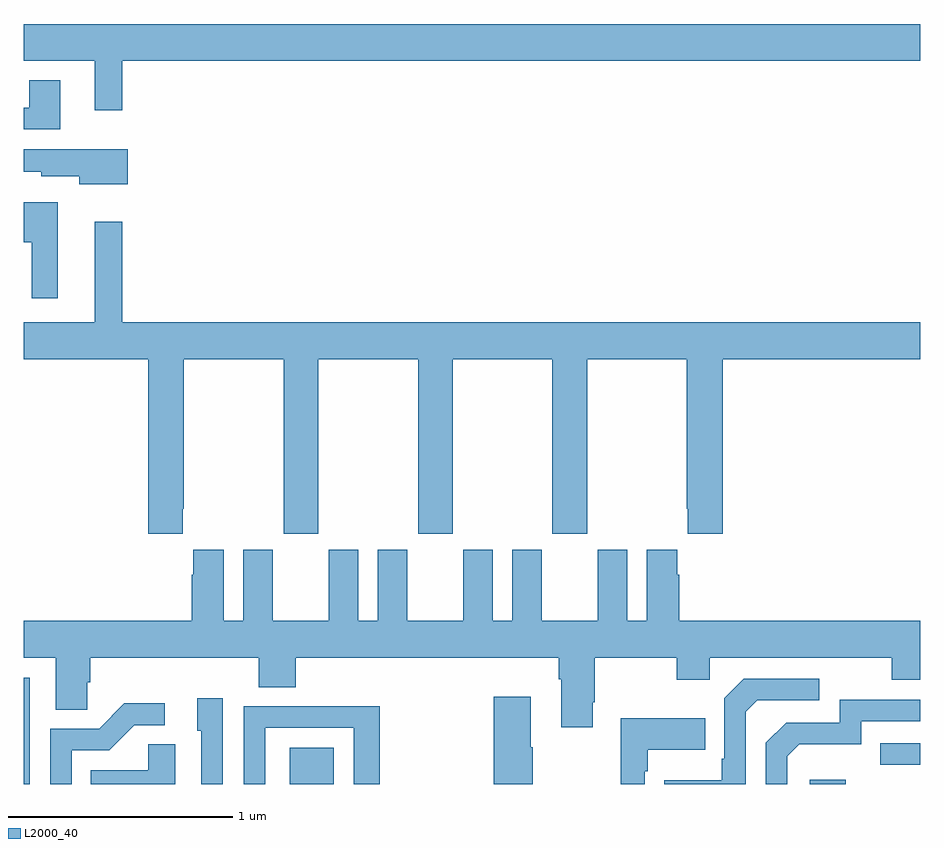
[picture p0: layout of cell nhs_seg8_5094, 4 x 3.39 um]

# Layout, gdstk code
import gdstk
lib = gdstk.Library(unit=1e-6, precision=1e-09)
def R(c, l, rs):  # rectangles x0, y0, x1, y1
    for r in rs: c.add(gdstk.rectangle(r[:2], r[2:], *l))
def P(c, l, *ps):  # polygons
    for p in ps: c.add(gdstk.Polygon(p, *l))
L2000_40 = (2000, 40)

nhs_seg8_5094 = lib.new_cell('nhs_seg8_5094')
R(nhs_seg8_5094, L2000_40, [(417,1151.9,417.027,1152.375), (418.187,1151.9,418.384,1152.061), (420.507,1151.9,420.668,1151.92), (420.823,1151.985,421,1152.081)])
P(nhs_seg8_5094, L2000_40, [(417.439,1155.128),(421,1155.128),(421,1155.292),(417,1155.292),(417,1155.128),(417.317,1155.128),(417.317,1154.907),(417.439,1154.907)],
  [(417.163,1155.04),(417.023,1155.04),(417.023,1154.919),(417,1154.919),(417,1154.823),(417.163,1154.823)],
  [(417.463,1154.734),(417,1154.734),(417,1154.633),(417.078,1154.633),(417.078,1154.612),(417.248,1154.612),(417.248,1154.576),(417.463,1154.576)],
  [(417.151,1154.497),(417,1154.497),(417,1154.318),(417.035,1154.318),(417.035,1154.067),(417.151,1154.067)],
  [(417.709,1153.129),(417.714,1153.129),(417.714,1153.796),(418.159,1153.796),(418.159,1153.017),(418.314,1153.017),(418.314,1153.796),(418.759,1153.796),(418.759,1153.017),(418.914,1153.017),(418.914,1153.796),(419.359,1153.796),(419.359,1153.017),(419.514,1153.017),(419.514,1153.796),(419.959,1153.796),(419.959,1153.129),(419.963,1153.129),(419.963,1153.017),(420.119,1153.017),(420.119,1153.796),(421,1153.796),(421,1153.96),(417.439,1153.96),(417.439,1154.41),(417.317,1154.41),(417.317,1153.96),(417,1153.96),(417,1153.796),(417.554,1153.796),(417.554,1153.017),(417.709,1153.017)],
  [(419.924,1152.833),(419.917,1152.833),(419.917,1152.946),(419.78,1152.946),(419.78,1152.628),(419.692,1152.628),(419.692,1152.946),(419.561,1152.946),(419.561,1152.628),(419.311,1152.628),(419.311,1152.946),(419.18,1152.946),(419.18,1152.628),(419.092,1152.628),(419.092,1152.946),(418.961,1152.946),(418.961,1152.628),(418.711,1152.628),(418.711,1152.946),(418.58,1152.946),(418.58,1152.628),(418.492,1152.628),(418.492,1152.946),(418.361,1152.946),(418.361,1152.628),(418.111,1152.628),(418.111,1152.946),(417.98,1152.946),(417.98,1152.628),(417.892,1152.628),(417.892,1152.946),(417.755,1152.946),(417.755,1152.833),(417.749,1152.833),(417.749,1152.628),(417,1152.628),(417,1152.464),(417.143,1152.464),(417.143,1152.232),(417.282,1152.232),(417.282,1152.355),(417.296,1152.355),(417.296,1152.464),(418.049,1152.464),(418.049,1152.331),(418.214,1152.331),(418.214,1152.464),(419.387,1152.464),(419.387,1152.368),(419.399,1152.368),(419.399,1152.153),(419.539,1152.153),(419.539,1152.265),(419.547,1152.265),(419.547,1152.464),(419.914,1152.464),(419.914,1152.365),(420.06,1152.365),(420.06,1152.464),(420.874,1152.464),(420.874,1152.365),(421,1152.365),(421,1152.628),(419.924,1152.628)],
  [(420.222,1152.222),(420.273,1152.273),(420.55,1152.273),(420.55,1152.369),(420.213,1152.369),(420.126,1152.282),(420.126,1152.013),(420.114,1152.013),(420.114,1151.917),(419.857,1151.917),(419.857,1151.9),(420.222,1151.9)],
  [(419.271,1152.065),(419.263,1152.065),(419.263,1152.289),(419.096,1152.289),(419.096,1151.9),(419.271,1151.9)],
  [(417.888,1152.283),(417.773,1152.283),(417.773,1152.138),(417.792,1152.138),(417.792,1151.9),(417.888,1151.9)],
  [(420.408,1152.024),(420.461,1152.077),(420.738,1152.077),(420.738,1152.18),(421,1152.18),(421,1152.276),(420.642,1152.276),(420.642,1152.174),(420.402,1152.174),(420.312,1152.084),(420.312,1151.9),(420.408,1151.9)],
  [(417.213,1152.051),(417.382,1152.051),(417.493,1152.162),(417.628,1152.162),(417.628,1152.26),(417.449,1152.26),(417.336,1152.147),(417.117,1152.147),(417.117,1151.9),(417.213,1151.9)],
  [(418.077,1152.15),(418.473,1152.15),(418.473,1151.9),(418.589,1151.9),(418.589,1152.248),(418.297,1152.248),(418.297,1152.246),(417.981,1152.246),(417.981,1151.9),(418.077,1151.9)],
  [(419.772,1151.957),(419.785,1151.957),(419.785,1152.053),(420.041,1152.053),(420.041,1152.193),(419.664,1152.193),(419.664,1151.9),(419.772,1151.9)],
  [(417.676,1152.077),(417.555,1152.077),(417.555,1151.962),(417.298,1151.962),(417.298,1151.9),(417.676,1151.9)])

lib.write_gds('nhs_seg8_5094.gds')
